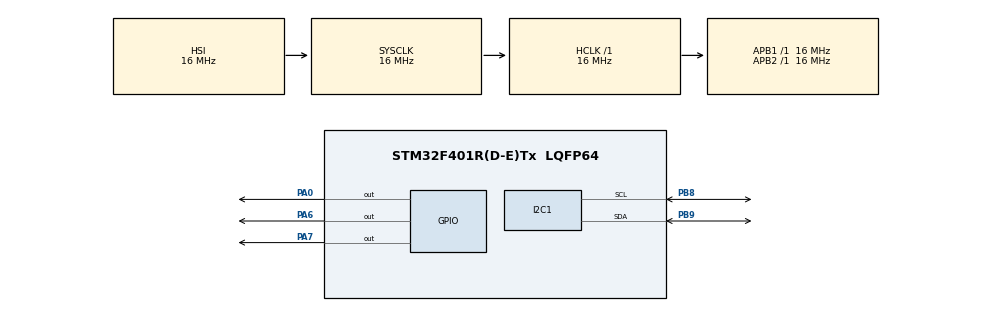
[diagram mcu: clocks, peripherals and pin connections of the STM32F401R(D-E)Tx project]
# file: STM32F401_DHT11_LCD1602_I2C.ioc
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Mcu.Family=STM32F4
Mcu.Name=STM32F401R(D-E)Tx
Mcu.Package=LQFP64
NVIC.PriorityGroup=NVIC_PRIORITYGROUP_4
PA0-WKUP.PinState=GPIO_PIN_SET
PA0-WKUP.Signal=GPIO_Output
PA13.Mode=Serial_Wire
PA13.Signal=SYS_JTMS-SWDIO
PA14.Mode=Serial_Wire
PA14.Signal=SYS_JTCK-SWCLK
PA6.Signal=GPIO_Output
PA7.Signal=GPIO_Output
PB8.Mode=I2C
PB8.Signal=I2C1_SCL
PB9.Mode=I2C
PB9.Signal=I2C1_SDA
ProjectManager.HeapSize=0x200
ProjectManager.StackSize=0x400
ProjectManager.TargetToolchain=STM32CubeIDE
RCC.AHBFreq_Value=16000000
RCC.APB1Freq_Value=16000000
RCC.APB2Freq_Value=16000000
RCC.CortexFreq_Value=16000000
RCC.HSE_VALUE=25000000
RCC.HSI_VALUE=16000000
RCC.LSE_VALUE=32768
RCC.SYSCLKFreq_VALUE=16000000
RCC.VCOOutputFreq_Value=192000000
TIM2.Period=65535
TIM2.Prescaler=15
VP_TIM2_VS_ClockSourceINT.Mode=Internal
board=custom

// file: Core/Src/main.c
/* USER CODE BEGIN Header */
/**
  ******************************************************************************
  * @file           : main.c
  * @brief          : Main program body
  ******************************************************************************
  * @attention
  *
  * Copyright (c) 2025 STMicroelectronics.
  * All rights reserved.
  *
  * This software is licensed under terms that can be found in the LICENSE file
  * in the root directory of this software component.
  * If no LICENSE file comes with this software, it is provided AS-IS.
  *
  ******************************************************************************
  */
/* USER CODE END Header */
#include "main.h"

/* USER CODE BEGIN Includes */
#include <stdio.h>
#include <string.h>
#include "../../DelayMicro/Inc/delay_micro.h"
#include "../../Dht11/Inc/Dht11.h"
#include "../../Lcd1602_i2c/Inc/lcd1602_i2c.h"
#include "stm32f4xx_hal.h"
/* USER CODE END Includes */

I2C_HandleTypeDef hi2c1;

TIM_HandleTypeDef htim2;

void SystemClock_Config(void);
static void MX_GPIO_Init(void);
static void MX_TIM2_Init(void);
static void MX_I2C1_Init(void);

int main(void)
{

  /* MCU Configuration--------------------------------------------------------*/

  /* Reset of all peripherals, Initializes the Flash interface and the Systick. */
  HAL_Init();

  /* Configure the system clock */
  SystemClock_Config();

  /* USER CODE BEGIN SysInit */
  // Initialize TIM2 to use for micro-delays
  TIM2MicrosecondsDelayInit();
  /* USER CODE END SysInit */

  /* Initialize all configured peripherals */
  MX_GPIO_Init();
  MX_TIM2_Init();
  MX_I2C1_Init();
  /* USER CODE BEGIN 2 */
    char message1[100];
    char message2[100];

    strcpy(message1,  " *** STM32 ***  ");
    strcpy(message2, " DH11 connected ");

    // Configure data line pin for the DHT11
    DTH11GpioDataLine data_line = {GPIOA, GPIO_PIN_0};
    Dht11ConfigureDataLine(data_line);

    // Set LCD1602 Interface type to I2C
    Lcd1602SetInterfaceType(LCD1602_I2C);
    // Set data bus for I2C communication mode
	GpioItem lcd1602_gpio_data_bus[] =
	{
        {GPIOB, GPIO_PIN_8},  // SCL
        {GPIOB, GPIO_PIN_9},  // SDA
        UNDEFINED_GPIO,
        UNDEFINED_GPIO,
        UNDEFINED_GPIO,
        UNDEFINED_GPIO,
        UNDEFINED_GPIO,
        UNDEFINED_GPIO
    };

    Lcd1602ConfigureI2C(lcd1602_gpio_data_bus);

    Lcd1602ScreenClear();
    Lcd1602SetCursor(0, 1);
    Lcd1602WriteString(message1);
    Lcd1602SetCursor(1, 0);
    Lcd1602WriteString(message2);

    TIM2MillisecondsDelay(3000);
  /* USER CODE END 2 */

  /* Infinite loop */
  /* USER CODE BEGIN WHILE */

    while (1)
    {
        // Send a request to the DHT11 sensor
        Dht11SendRequest();

        // Get a response from the DHT11 sensor
        if (Dht11GetResponse())
	    {
        	// Get responsed bytes
        	uint8_t rh_byte1 = 0;
        	uint8_t rh_byte2 = 0;
        	uint8_t temp_byte1 = 0;
        	uint8_t temp_byte2 = 0;
        	uint8_t sum = 0;
        	uint8_t crc = 0;

        	Dht11GetResponsedBytes(&rh_byte1, &rh_byte2, &temp_byte1, &temp_byte2, &sum);
        	crc = rh_byte1 + rh_byte2 + temp_byte1 + temp_byte2;

        	if (crc == sum)
        	{
                float humidity = (float)(rh_byte1) + (float)(rh_byte2)/10.0;
            	float temperature = (float)(temp_byte1) + (float)(temp_byte2)/DHT11_SCALE;
            	char temperature_str[10];
                char humidity_str[10];

	            sprintf(temperature_str, "Tc = %2.1Lf", (long double)temperature);
	            sprintf(humidity_str, "Rh = %2.1Lf", (long double)humidity);

	            strcpy(message1, temperature_str);
	            strcpy(message2, humidity_str);
	            Lcd1602ScreenClear();
	            Lcd1602SetCursor(0, 4);
	            Lcd1602WriteString(message1);
	            Lcd1602SetCursor(1, 4);
	            Lcd1602WriteString(message2);
        	}
        	else
        	{
	            sprintf(message1, "*** CRC = %u", crc);
	            sprintf(message2, "*** SUM = %u", sum);
	            Lcd1602ScreenClear();
	            Lcd1602SetCursor(0, 0);
	            Lcd1602WriteString(message1);
	            Lcd1602SetCursor(1, 0);
	            Lcd1602WriteString(message2);
        	}
      }
	  else
	  {
          strcpy(message1, "*** Sensor ***");
          strcpy(message2, "*** Error ***");
          Lcd1602ScreenClear();
          Lcd1602SetCursor(0, 4);
          Lcd1602WriteString(message1);
          Lcd1602SetCursor(1, 4);
          Lcd1602WriteString(message2);
	  }

        TIM2MillisecondsDelay(2000);
    /* USER CODE END WHILE */

  }
}

void SystemClock_Config(void)
{
  RCC_OscInitTypeDef RCC_OscInitStruct = {0};
  RCC_ClkInitTypeDef RCC_ClkInitStruct = {0};

  /** Configure the main internal regulator output voltage
  */
  __HAL_RCC_PWR_CLK_ENABLE();
  __HAL_PWR_VOLTAGESCALING_CONFIG(PWR_REGULATOR_VOLTAGE_SCALE2);

  /** Initializes the RCC Oscillators according to the specified parameters
  * in the RCC_OscInitTypeDef structure.
  */
  RCC_OscInitStruct.OscillatorType = RCC_OSCILLATORTYPE_HSI;
  RCC_OscInitStruct.HSIState = RCC_HSI_ON;
  RCC_OscInitStruct.HSICalibrationValue = RCC_HSICALIBRATION_DEFAULT;
  RCC_OscInitStruct.PLL.PLLState = RCC_PLL_NONE;
  if (HAL_RCC_OscConfig(&RCC_OscInitStruct) != HAL_OK)
  {
    Error_Handler();
  }

  /** Initializes the CPU, AHB and APB buses clocks
  */
  RCC_ClkInitStruct.ClockType = RCC_CLOCKTYPE_HCLK|RCC_CLOCKTYPE_SYSCLK
                              |RCC_CLOCKTYPE_PCLK1|RCC_CLOCKTYPE_PCLK2;
  RCC_ClkInitStruct.SYSCLKSource = RCC_SYSCLKSOURCE_HSI;
  RCC_ClkInitStruct.AHBCLKDivider = RCC_SYSCLK_DIV1;
  RCC_ClkInitStruct.APB1CLKDivider = RCC_HCLK_DIV1;
  RCC_ClkInitStruct.APB2CLKDivider = RCC_HCLK_DIV1;

  if (HAL_RCC_ClockConfig(&RCC_ClkInitStruct, FLASH_LATENCY_0) != HAL_OK)
  {
    Error_Handler();
  }
}

static void MX_I2C1_Init(void)
{

  hi2c1.Instance = I2C1;
  hi2c1.Init.ClockSpeed = 100000;
  hi2c1.Init.DutyCycle = I2C_DUTYCYCLE_2;
  hi2c1.Init.OwnAddress1 = 0;
  hi2c1.Init.AddressingMode = I2C_ADDRESSINGMODE_7BIT;
  hi2c1.Init.DualAddressMode = I2C_DUALADDRESS_DISABLE;
  hi2c1.Init.OwnAddress2 = 0;
  hi2c1.Init.GeneralCallMode = I2C_GENERALCALL_DISABLE;
  hi2c1.Init.NoStretchMode = I2C_NOSTRETCH_DISABLE;
  if (HAL_I2C_Init(&hi2c1) != HAL_OK)
  {
    Error_Handler();
  }

}

static void MX_TIM2_Init(void)
{

  TIM_ClockConfigTypeDef sClockSourceConfig = {0};
  TIM_MasterConfigTypeDef sMasterConfig = {0};

  htim2.Instance = TIM2;
  htim2.Init.Prescaler = 15;
  htim2.Init.CounterMode = TIM_COUNTERMODE_UP;
  htim2.Init.Period = 65535;
  htim2.Init.ClockDivision = TIM_CLOCKDIVISION_DIV1;
  htim2.Init.AutoReloadPreload = TIM_AUTORELOAD_PRELOAD_DISABLE;
  if (HAL_TIM_Base_Init(&htim2) != HAL_OK)
  {
    Error_Handler();
  }
  sClockSourceConfig.ClockSource = TIM_CLOCKSOURCE_INTERNAL;
  if (HAL_TIM_ConfigClockSource(&htim2, &sClockSourceConfig) != HAL_OK)
  {
    Error_Handler();
  }
  sMasterConfig.MasterOutputTrigger = TIM_TRGO_RESET;
  sMasterConfig.MasterSlaveMode = TIM_MASTERSLAVEMODE_DISABLE;
  if (HAL_TIMEx_MasterConfigSynchronization(&htim2, &sMasterConfig) != HAL_OK)
  {
    Error_Handler();
  }

}

static void MX_GPIO_Init(void)
{
  GPIO_InitTypeDef GPIO_InitStruct = {0};

  /* GPIO Ports Clock Enable */
  __HAL_RCC_GPIOA_CLK_ENABLE();
  __HAL_RCC_GPIOB_CLK_ENABLE();

  /*Configure GPIO pin Output Level */
  HAL_GPIO_WritePin(GPIOA, GPIO_PIN_0, GPIO_PIN_SET);

  /*Configure GPIO pin Output Level */
  HAL_GPIO_WritePin(GPIOA, GPIO_PIN_6|GPIO_PIN_7, GPIO_PIN_RESET);

  /*Configure GPIO pins : PA0 PA6 PA7 */
  GPIO_InitStruct.Pin = GPIO_PIN_0|GPIO_PIN_6|GPIO_PIN_7;
  GPIO_InitStruct.Mode = GPIO_MODE_OUTPUT_PP;
  GPIO_InitStruct.Pull = GPIO_NOPULL;
  GPIO_InitStruct.Speed = GPIO_SPEED_FREQ_LOW;
  HAL_GPIO_Init(GPIOA, &GPIO_InitStruct);

}

void Error_Handler(void)
{
  __disable_irq();
  while (1)
  {
  }
}
